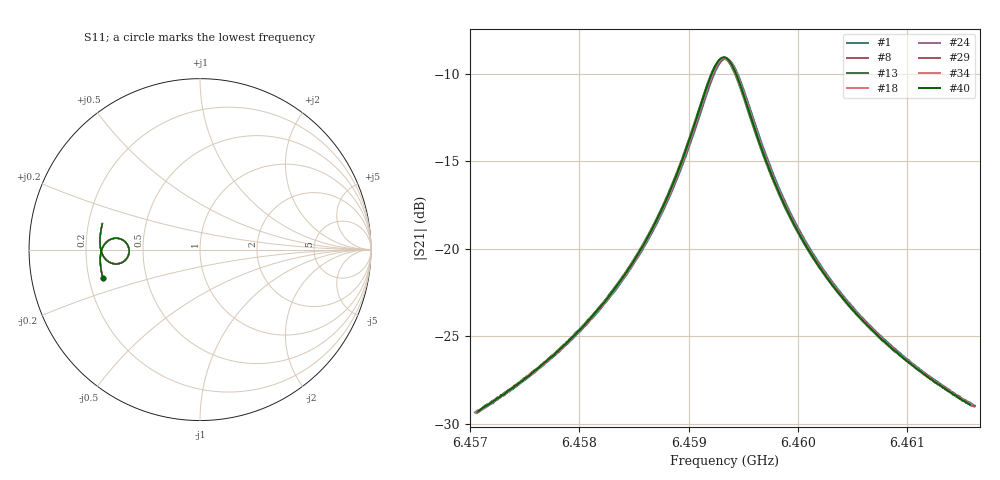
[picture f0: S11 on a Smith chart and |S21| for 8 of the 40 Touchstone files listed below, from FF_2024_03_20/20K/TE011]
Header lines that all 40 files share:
#  HZ  S  RI  R  50.00
! Rohde & Schwarz Vector Network Analyzer
! Rohde-Schwarz,ZNB20-2Port,1311601062101988,3.16
! freq[Hz]  re:S11  im:S11  re:S21  im:S21  re:S12  im:S12  re:S22  im:S22
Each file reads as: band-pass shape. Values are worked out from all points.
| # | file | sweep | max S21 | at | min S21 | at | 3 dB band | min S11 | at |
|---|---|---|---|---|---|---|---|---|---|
| 1 | 0_1_17.0001_20.9476318_0.165_1.3036649227142334_.s2p | 6.457062 GHz to 6.461623 GHz | -9.14 dB | 6.459342 GHz | -29.4 dB | 6.457062 GHz | 6.459114 GHz-6.45957 GHz | -7.6 dB | 6.459342 GHz |
| 2 | 1_1_16.9997_20.9477043_0.06_3.7515065670013428_.s2p | 6.45706 GHz to 6.461624 GHz | -9.14 dB | 6.459342 GHz | -29.4 dB | 6.45706 GHz | 6.459125 GHz-6.459559 GHz | -7.6 dB | 6.459342 GHz |
| 3 | 2_1_16.9993_20.9471455_0.18_6.1545250415802_.s2p | 6.457062 GHz to 6.461623 GHz | -9.14 dB | 6.459342 GHz | -29.4 dB | 6.457062 GHz | 6.459114 GHz-6.459559 GHz | -7.6 dB | 6.459342 GHz |
| 4 | 3_1_17.0003_20.9473896_0.09_8.566370248794556_.s2p | 6.457062 GHz to 6.461622 GHz | -9.14 dB | 6.459342 GHz | -29.4 dB | 6.457062 GHz | 6.459114 GHz-6.45957 GHz | -7.6 dB | 6.459342 GHz |
| 5 | 4_1_16.9993_20.9473515_0.12_11.804833889007568_.s2p | 6.457059 GHz to 6.461625 GHz | -9.14 dB | 6.459342 GHz | -29.4 dB | 6.457059 GHz | 6.459125 GHz-6.459559 GHz | -7.6 dB | 6.459342 GHz |
| 6 | 5_1_16.9992_20.9473515_5.104_14.242943048477173_.s2p | 6.457062 GHz to 6.461622 GHz | -9.14 dB | 6.459342 GHz | -29.4 dB | 6.457062 GHz | 6.459114 GHz-6.459559 GHz | -7.6 dB | 6.459342 GHz |
| 7 | 6_1_17.0023_20.947319_225.342_16.657817602157593_.s2p | 6.457062 GHz to 6.461621 GHz | -9.14 dB | 6.459342 GHz | -29.3 dB | 6.457062 GHz | 6.459114 GHz-6.459558 GHz | -7.6 dB | 6.459331 GHz |
| 8 | 7_1_17.0019_20.947073_462.97_19.120415210723877_.s2p | 6.457058 GHz to 6.461617 GHz | -9.14 dB | 6.459326 GHz | -29.3 dB | 6.457058 GHz | 6.459109 GHz-6.459554 GHz | -7.6 dB | 6.459326 GHz |
| 9 | 8_1_17.0002_20.9462051_692.163_21.531404495239258_.s2p | 6.457053 GHz to 6.46161 GHz | -9.13 dB | 6.459332 GHz | -29.3 dB | 6.457053 GHz | 6.459104 GHz-6.459548 GHz | -7.6 dB | 6.45932 GHz |
| 10 | 9_1_17.0002_20.9464111_931.009_23.96743869781494_.s2p | 6.457051 GHz to 6.461604 GHz | -9.13 dB | 6.459327 GHz | -29.4 dB | 6.457051 GHz | 6.4591 GHz-6.459544 GHz | -7.6 dB | 6.459316 GHz |
| 11 | 10_1_16.999_20.9455433_1170.703_26.380046367645264_.s2p | 6.457049 GHz to 6.461599 GHz | -9.13 dB | 6.459324 GHz | -29.3 dB | 6.457049 GHz | 6.459096 GHz-6.45954 GHz | -7.6 dB | 6.459324 GHz |
| 12 | 11_1_16.9996_20.9440441_2066.424_34.71866536140442_.s2p | 6.457046 GHz to 6.461596 GHz | -9.12 dB | 6.45931 GHz | -29.3 dB | 6.457046 GHz | 6.459093 GHz-6.459537 GHz | -7.6 dB | 6.45931 GHz |
| 13 | 12_1_16.9994_20.9406967_2246.355_37.22885084152222_.s2p | 6.457044 GHz to 6.461589 GHz | -9.12 dB | 6.459316 GHz | -29.4 dB | 6.457044 GHz | 6.459089 GHz-6.459532 GHz | -7.6 dB | 6.459316 GHz |
| 14 | 13_1_17.0003_20.9390965_2485.176_39.64317178726196_.s2p | 6.457045 GHz to 6.461587 GHz | -9.12 dB | 6.459316 GHz | -29.4 dB | 6.457045 GHz | 6.4591 GHz-6.459543 GHz | -7.6 dB | 6.459316 GHz |
| 15 | 14_1_16.9994_20.9382229_2743.924_42.07797622680664_.s2p | 6.457045 GHz to 6.461588 GHz | -9.12 dB | 6.459316 GHz | -29.3 dB | 6.457045 GHz | 6.459101 GHz-6.459544 GHz | -7.6 dB | 6.459316 GHz |
| 16 | 15_1_16.9988_20.9363441_3002.535_44.50396537780762_.s2p | 6.457046 GHz to 6.461588 GHz | -9.11 dB | 6.459317 GHz | -29.4 dB | 6.457046 GHz | 6.459101 GHz-6.459544 GHz | -7.6 dB | 6.459317 GHz |
| 17 | 16_1_17.0_20.9349174_3241.702_46.92879366874695_.s2p | 6.457049 GHz to 6.461588 GHz | -9.11 dB | 6.459318 GHz | -29.3 dB | 6.457049 GHz | 6.459103 GHz-6.459545 GHz | -7.6 dB | 6.459318 GHz |
| 18 | 17_1_16.9988_20.9328613_3480.717_49.33729887008667_.s2p | 6.45705 GHz to 6.461589 GHz | -9.11 dB | 6.459319 GHz | -29.4 dB | 6.45705 GHz | 6.459104 GHz-6.459546 GHz | -7.6 dB | 6.459319 GHz |
| 19 | 18_1_17.001_20.9305649_3689.514_51.73865795135498_.s2p | 6.457052 GHz to 6.46159 GHz | -9.11 dB | 6.459321 GHz | -29.3 dB | 6.457052 GHz | 6.459105 GHz-6.459548 GHz | -7.6 dB | 6.459321 GHz |
| 20 | 19_1_16.9994_20.9298344_3928.182_54.21042990684509_.s2p | 6.457053 GHz to 6.461592 GHz | -9.11 dB | 6.459322 GHz | -29.3 dB | 6.457064 GHz | 6.459107 GHz-6.459549 GHz | -7.6 dB | 6.459322 GHz |
| 21 | 20_1_17.0004_20.9271145_4177.468_56.67021298408508_.s2p | 6.457056 GHz to 6.461592 GHz | -9.10 dB | 6.459324 GHz | -29.4 dB | 6.457056 GHz | 6.459108 GHz-6.459551 GHz | -7.6 dB | 6.459324 GHz |
| 22 | 21_1_16.9996_20.9257584_4426.721_59.08269381523132_.s2p | 6.457058 GHz to 6.461593 GHz | -9.10 dB | 6.459326 GHz | -29.4 dB | 6.457058 GHz | 6.45911 GHz-6.459552 GHz | -7.6 dB | 6.459326 GHz |
| 23 | 22_1_17.0004_20.9236012_4666.093_61.509878158569336_.s2p | 6.45706 GHz to 6.461594 GHz | -9.10 dB | 6.459327 GHz | -29.3 dB | 6.45706 GHz | 6.459112 GHz-6.459554 GHz | -7.6 dB | 6.459327 GHz |
| 24 | 23_1_16.9987_20.9216194_4925.203_63.92794108390808_.s2p | 6.457064 GHz to 6.461593 GHz | -9.10 dB | 6.459329 GHz | -29.3 dB | 6.457064 GHz | 6.459113 GHz-6.459555 GHz | -7.6 dB | 6.459329 GHz |
| 25 | 24_1_16.9999_20.9186993_5174.504_66.36371684074402_.s2p | 6.457063 GHz to 6.461596 GHz | -9.10 dB | 6.45933 GHz | -29.3 dB | 6.457063 GHz | 6.459115 GHz-6.459557 GHz | -7.6 dB | 6.45933 GHz |
| 26 | 25_1_17.0003_20.9163342_5413.834_68.78977966308594_.s2p | 6.457067 GHz to 6.461595 GHz | -9.10 dB | 6.459331 GHz | -29.3 dB | 6.457067 GHz | 6.459116 GHz-6.459557 GHz | -7.6 dB | 6.459331 GHz |
| 27 | 26_1_16.9995_20.9146976_5683.299_71.23313570022583_.s2p | 6.457064 GHz to 6.4616 GHz | -9.10 dB | 6.459332 GHz | -29.3 dB | 6.457064 GHz | 6.459116 GHz-6.459559 GHz | -7.6 dB | 6.459332 GHz |
| 28 | 27_1_16.9989_20.9110851_5873.336_73.6681056022644_.s2p | 6.457068 GHz to 6.461597 GHz | -9.09 dB | 6.459332 GHz | -29.4 dB | 6.457068 GHz | 6.459117 GHz-6.459547 GHz | -7.6 dB | 6.459332 GHz |
| 29 | 28_1_16.9993_20.9090672_6132.734_76.13248443603516_.s2p | 6.457068 GHz to 6.461596 GHz | -9.09 dB | 6.459332 GHz | -29.3 dB | 6.457068 GHz | 6.459117 GHz-6.459559 GHz | -7.6 dB | 6.459332 GHz |
| 30 | 29_1_16.9992_20.9066029_6411.909_78.54543256759644_.s2p | 6.45707 GHz to 6.461595 GHz | -9.09 dB | 6.459333 GHz | -29.3 dB | 6.45707 GHz | 6.459118 GHz-6.459547 GHz | -7.6 dB | 6.459333 GHz |
| 31 | 30_1_16.9998_20.9049702_6622.583_81.14741563796997_.s2p | 6.457072 GHz to 6.461593 GHz | -9.09 dB | 6.459333 GHz | -29.3 dB | 6.457084 GHz | 6.459107 GHz-6.459547 GHz | -7.6 dB | 6.459333 GHz |
| 32 | 31_1_17.0011_20.902504_6893.159_83.59672117233276_.s2p | 6.457071 GHz to 6.461593 GHz | -9.09 dB | 6.459332 GHz | -29.3 dB | 6.457071 GHz | 6.459106 GHz-6.459547 GHz | -7.6 dB | 6.459332 GHz |
| 33 | 32_1_17.0007_20.9010792_7143.062_86.02297854423523_.s2p | 6.45707 GHz to 6.461592 GHz | -9.08 dB | 6.459331 GHz | -29.3 dB | 6.45707 GHz | 6.459105 GHz-6.459546 GHz | -7.6 dB | 6.459331 GHz |
| 34 | 33_1_17.0012_20.8975048_7373.46_88.46758341789246_.s2p | 6.457071 GHz to 6.46159 GHz | -9.08 dB | 6.45933 GHz | -29.3 dB | 6.457071 GHz | 6.459104 GHz-6.459545 GHz | -7.7 dB | 6.45933 GHz |
| 35 | 34_1_17.0015_20.8874779_8183.747_96.61476755142212_.s2p | 6.457073 GHz to 6.461583 GHz | -9.07 dB | 6.459328 GHz | -29.3 dB | 6.457073 GHz | 6.459102 GHz-6.459542 GHz | -7.7 dB | 6.459328 GHz |
| 36 | 35_1_16.9996_20.8837643_8423.842_99.01354908943176_.s2p | 6.457071 GHz to 6.461583 GHz | -9.06 dB | 6.459327 GHz | -29.3 dB | 6.457071 GHz | 6.459101 GHz-6.459541 GHz | -7.7 dB | 6.459327 GHz |
| 37 | 36_1_16.9995_20.8810253_8673.896_101.46816992759705_.s2p | 6.457074 GHz to 6.461579 GHz | -9.06 dB | 6.459326 GHz | -29.3 dB | 6.457074 GHz | 6.459101 GHz-6.45954 GHz | -7.7 dB | 6.459326 GHz |
| 38 | 37_1_17.0021_20.8782539_8914.522_103.88108992576599_.s2p | 6.457072 GHz to 6.461579 GHz | -9.06 dB | 6.459325 GHz | -29.3 dB | 6.457072 GHz | 6.4591 GHz-6.45954 GHz | -7.7 dB | 6.459325 GHz |
| 39 | 38_1_16.9983_20.8740959_9154.89_106.35391187667847_.s2p | 6.457071 GHz to 6.461578 GHz | -9.06 dB | 6.459325 GHz | -29.3 dB | 6.457071 GHz | 6.459099 GHz-6.459539 GHz | -7.7 dB | 6.459325 GHz |
| 40 | 39_1_16.9982_20.8699398_9394.765_108.76992964744568_.s2p | 6.457072 GHz to 6.461576 GHz | -9.06 dB | 6.459324 GHz | -29.3 dB | 6.457072 GHz | 6.459099 GHz-6.459538 GHz | -7.7 dB | 6.459324 GHz |
